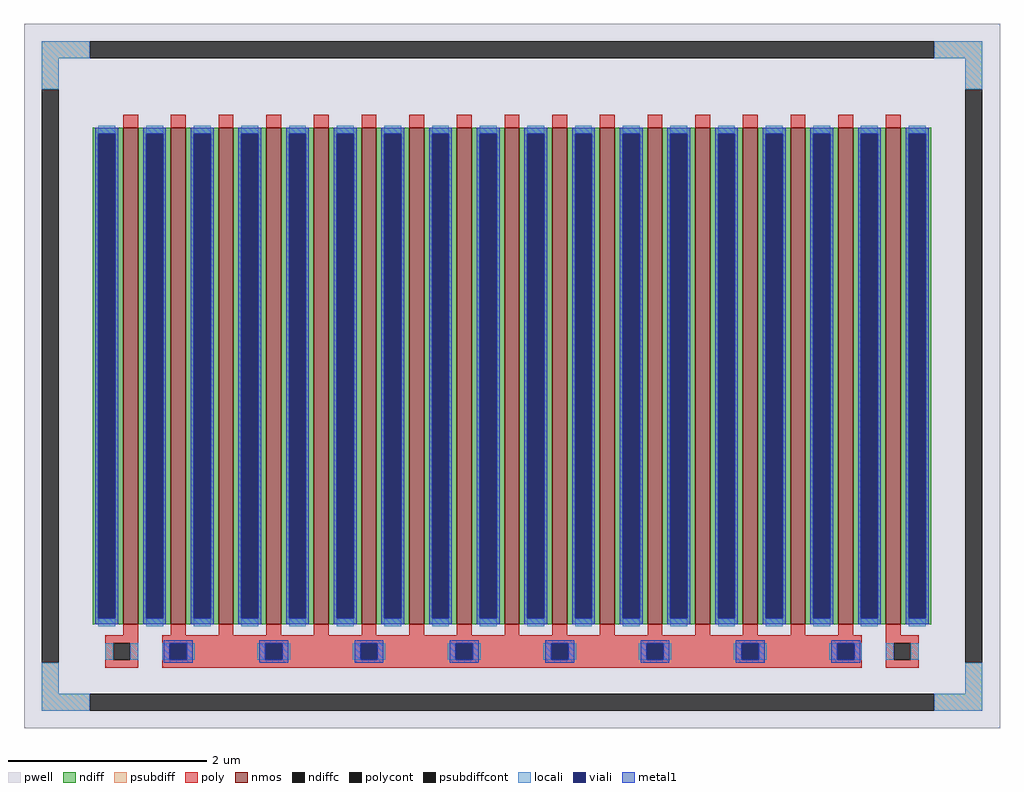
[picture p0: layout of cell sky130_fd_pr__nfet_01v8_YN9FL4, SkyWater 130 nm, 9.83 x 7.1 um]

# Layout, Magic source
magic
tech sky130A
magscale 1 2
<< pwell >>
rect -983 -710 983 710
<< nmos >>
rect -783 -500 -753 500
rect -687 -500 -657 500
rect -591 -500 -561 500
rect -495 -500 -465 500
rect -399 -500 -369 500
rect -303 -500 -273 500
rect -207 -500 -177 500
rect -111 -500 -81 500
rect -15 -500 15 500
rect 81 -500 111 500
rect 177 -500 207 500
rect 273 -500 303 500
rect 369 -500 399 500
rect 465 -500 495 500
rect 561 -500 591 500
rect 657 -500 687 500
rect 753 -500 783 500
<< ndiff >>
rect -845 488 -783 500
rect -845 -488 -833 488
rect -799 -488 -783 488
rect -845 -500 -783 -488
rect -753 488 -687 500
rect -753 -488 -737 488
rect -703 -488 -687 488
rect -753 -500 -687 -488
rect -657 488 -591 500
rect -657 -488 -641 488
rect -607 -488 -591 488
rect -657 -500 -591 -488
rect -561 488 -495 500
rect -561 -488 -545 488
rect -511 -488 -495 488
rect -561 -500 -495 -488
rect -465 488 -399 500
rect -465 -488 -449 488
rect -415 -488 -399 488
rect -465 -500 -399 -488
rect -369 488 -303 500
rect -369 -488 -353 488
rect -319 -488 -303 488
rect -369 -500 -303 -488
rect -273 488 -207 500
rect -273 -488 -257 488
rect -223 -488 -207 488
rect -273 -500 -207 -488
rect -177 488 -111 500
rect -177 -488 -161 488
rect -127 -488 -111 488
rect -177 -500 -111 -488
rect -81 488 -15 500
rect -81 -488 -65 488
rect -31 -488 -15 488
rect -81 -500 -15 -488
rect 15 488 81 500
rect 15 -488 31 488
rect 65 -488 81 488
rect 15 -500 81 -488
rect 111 488 177 500
rect 111 -488 127 488
rect 161 -488 177 488
rect 111 -500 177 -488
rect 207 488 273 500
rect 207 -488 223 488
rect 257 -488 273 488
rect 207 -500 273 -488
rect 303 488 369 500
rect 303 -488 319 488
rect 353 -488 369 488
rect 303 -500 369 -488
rect 399 488 465 500
rect 399 -488 415 488
rect 449 -488 465 488
rect 399 -500 465 -488
rect 495 488 561 500
rect 495 -488 511 488
rect 545 -488 561 488
rect 495 -500 561 -488
rect 591 488 657 500
rect 591 -488 607 488
rect 641 -488 657 488
rect 591 -500 657 -488
rect 687 488 753 500
rect 687 -488 703 488
rect 737 -488 753 488
rect 687 -500 753 -488
rect 783 488 845 500
rect 783 -488 799 488
rect 833 -488 845 488
rect 783 -500 845 -488
<< ndiffc >>
rect -833 -488 -799 488
rect -737 -488 -703 488
rect -641 -488 -607 488
rect -545 -488 -511 488
rect -449 -488 -415 488
rect -353 -488 -319 488
rect -257 -488 -223 488
rect -161 -488 -127 488
rect -65 -488 -31 488
rect 31 -488 65 488
rect 127 -488 161 488
rect 223 -488 257 488
rect 319 -488 353 488
rect 415 -488 449 488
rect 511 -488 545 488
rect 607 -488 641 488
rect 703 -488 737 488
rect 799 -488 833 488
<< psubdiff >>
rect -947 640 -851 674
rect 851 640 947 674
rect -947 578 -913 640
rect 913 578 947 640
rect -947 -640 -913 -578
rect 913 -640 947 -578
rect -947 -674 -851 -640
rect 851 -674 947 -640
<< psubdiffcont >>
rect -851 640 851 674
rect -947 -578 -913 578
rect 913 -578 947 578
rect -851 -674 851 -640
<< poly >>
rect -783 500 -753 526
rect -687 500 -657 526
rect -591 500 -561 526
rect -495 500 -465 526
rect -399 500 -369 526
rect -303 500 -273 526
rect -207 500 -177 526
rect -111 500 -81 526
rect -15 500 15 526
rect 81 500 111 526
rect 177 500 207 526
rect 273 500 303 526
rect 369 500 399 526
rect 465 500 495 526
rect 561 500 591 526
rect 657 500 687 526
rect 753 500 783 526
rect -783 -522 -753 -500
rect -687 -522 -657 -500
rect -591 -522 -561 -500
rect -495 -522 -465 -500
rect -399 -522 -369 -500
rect -303 -522 -273 -500
rect -207 -522 -177 -500
rect -111 -522 -81 -500
rect -15 -522 15 -500
rect 81 -522 111 -500
rect 177 -522 207 -500
rect 273 -522 303 -500
rect 369 -522 399 -500
rect 465 -522 495 -500
rect 561 -522 591 -500
rect 657 -522 687 -500
rect 753 -522 783 -500
rect -819 -538 -753 -522
rect -819 -572 -803 -538
rect -769 -572 -753 -538
rect -819 -588 -753 -572
rect -705 -538 705 -522
rect -705 -572 -689 -538
rect -655 -572 -497 -538
rect -463 -572 -305 -538
rect -271 -572 -113 -538
rect -79 -572 79 -538
rect 113 -572 271 -538
rect 305 -572 463 -538
rect 497 -572 655 -538
rect 689 -572 705 -538
rect -705 -588 705 -572
rect 753 -538 819 -522
rect 753 -572 769 -538
rect 803 -572 819 -538
rect 753 -588 819 -572
<< polycont >>
rect -803 -572 -769 -538
rect -689 -572 -655 -538
rect -497 -572 -463 -538
rect -305 -572 -271 -538
rect -113 -572 -79 -538
rect 79 -572 113 -538
rect 271 -572 305 -538
rect 463 -572 497 -538
rect 655 -572 689 -538
rect 769 -572 803 -538
<< locali >>
rect -947 640 -851 674
rect 851 640 947 674
rect -947 578 -913 640
rect 913 578 947 640
rect -833 488 -799 504
rect -833 -504 -799 -488
rect -737 488 -703 504
rect -737 -504 -703 -488
rect -641 488 -607 504
rect -641 -504 -607 -488
rect -545 488 -511 504
rect -545 -504 -511 -488
rect -449 488 -415 504
rect -449 -504 -415 -488
rect -353 488 -319 504
rect -353 -504 -319 -488
rect -257 488 -223 504
rect -257 -504 -223 -488
rect -161 488 -127 504
rect -161 -504 -127 -488
rect -65 488 -31 504
rect -65 -504 -31 -488
rect 31 488 65 504
rect 31 -504 65 -488
rect 127 488 161 504
rect 127 -504 161 -488
rect 223 488 257 504
rect 223 -504 257 -488
rect 319 488 353 504
rect 319 -504 353 -488
rect 415 488 449 504
rect 415 -504 449 -488
rect 511 488 545 504
rect 511 -504 545 -488
rect 607 488 641 504
rect 607 -504 641 -488
rect 703 488 737 504
rect 703 -504 737 -488
rect 799 488 833 504
rect 799 -504 833 -488
rect -819 -572 -803 -538
rect -769 -572 -753 -538
rect -705 -572 -689 -538
rect -655 -572 -639 -538
rect -513 -572 -497 -538
rect -463 -572 -447 -538
rect -321 -572 -305 -538
rect -271 -572 -255 -538
rect -129 -572 -113 -538
rect -79 -572 -63 -538
rect 63 -572 79 -538
rect 113 -572 129 -538
rect 255 -572 271 -538
rect 305 -572 321 -538
rect 447 -572 463 -538
rect 497 -572 513 -538
rect 639 -572 655 -538
rect 689 -572 705 -538
rect 753 -572 769 -538
rect 803 -572 819 -538
rect -947 -640 -913 -578
rect 913 -640 947 -578
rect -947 -674 -851 -640
rect 851 -674 947 -640
<< viali >>
rect -833 -488 -799 488
rect -737 -488 -703 488
rect -641 -488 -607 488
rect -545 -488 -511 488
rect -449 -488 -415 488
rect -353 -488 -319 488
rect -257 -488 -223 488
rect -161 -488 -127 488
rect -65 -488 -31 488
rect 31 -488 65 488
rect 127 -488 161 488
rect 223 -488 257 488
rect 319 -488 353 488
rect 415 -488 449 488
rect 511 -488 545 488
rect 607 -488 641 488
rect 703 -488 737 488
rect 799 -488 833 488
rect -689 -572 -655 -538
rect -497 -572 -463 -538
rect -305 -572 -271 -538
rect -113 -572 -79 -538
rect 79 -572 113 -538
rect 271 -572 305 -538
rect 463 -572 497 -538
rect 655 -572 689 -538
<< metal1 >>
rect -839 488 -793 500
rect -839 -488 -833 488
rect -799 -488 -793 488
rect -839 -500 -793 -488
rect -743 488 -697 500
rect -743 -488 -737 488
rect -703 -488 -697 488
rect -743 -500 -697 -488
rect -647 488 -601 500
rect -647 -488 -641 488
rect -607 -488 -601 488
rect -647 -500 -601 -488
rect -551 488 -505 500
rect -551 -488 -545 488
rect -511 -488 -505 488
rect -551 -500 -505 -488
rect -455 488 -409 500
rect -455 -488 -449 488
rect -415 -488 -409 488
rect -455 -500 -409 -488
rect -359 488 -313 500
rect -359 -488 -353 488
rect -319 -488 -313 488
rect -359 -500 -313 -488
rect -263 488 -217 500
rect -263 -488 -257 488
rect -223 -488 -217 488
rect -263 -500 -217 -488
rect -167 488 -121 500
rect -167 -488 -161 488
rect -127 -488 -121 488
rect -167 -500 -121 -488
rect -71 488 -25 500
rect -71 -488 -65 488
rect -31 -488 -25 488
rect -71 -500 -25 -488
rect 25 488 71 500
rect 25 -488 31 488
rect 65 -488 71 488
rect 25 -500 71 -488
rect 121 488 167 500
rect 121 -488 127 488
rect 161 -488 167 488
rect 121 -500 167 -488
rect 217 488 263 500
rect 217 -488 223 488
rect 257 -488 263 488
rect 217 -500 263 -488
rect 313 488 359 500
rect 313 -488 319 488
rect 353 -488 359 488
rect 313 -500 359 -488
rect 409 488 455 500
rect 409 -488 415 488
rect 449 -488 455 488
rect 409 -500 455 -488
rect 505 488 551 500
rect 505 -488 511 488
rect 545 -488 551 488
rect 505 -500 551 -488
rect 601 488 647 500
rect 601 -488 607 488
rect 641 -488 647 488
rect 601 -500 647 -488
rect 697 488 743 500
rect 697 -488 703 488
rect 737 -488 743 488
rect 697 -500 743 -488
rect 793 488 839 500
rect 793 -488 799 488
rect 833 -488 839 488
rect 793 -500 839 -488
rect -701 -538 -643 -532
rect -701 -572 -689 -538
rect -655 -572 -643 -538
rect -701 -578 -643 -572
rect -509 -538 -451 -532
rect -509 -572 -497 -538
rect -463 -572 -451 -538
rect -509 -578 -451 -572
rect -317 -538 -259 -532
rect -317 -572 -305 -538
rect -271 -572 -259 -538
rect -317 -578 -259 -572
rect -125 -538 -67 -532
rect -125 -572 -113 -538
rect -79 -572 -67 -538
rect -125 -578 -67 -572
rect 67 -538 125 -532
rect 67 -572 79 -538
rect 113 -572 125 -538
rect 67 -578 125 -572
rect 259 -538 317 -532
rect 259 -572 271 -538
rect 305 -572 317 -538
rect 259 -578 317 -572
rect 451 -538 509 -532
rect 451 -572 463 -538
rect 497 -572 509 -538
rect 451 -578 509 -572
rect 643 -538 701 -532
rect 643 -572 655 -538
rect 689 -572 701 -538
rect 643 -578 701 -572
<< properties >>
string FIXED_BBOX -930 -657 930 657
string gencell sky130_fd_pr__nfet_01v8
string library sky130
string parameters w 5 l 0.150 m 1 nf 17 diffcov 100 polycov 100 guard 1 glc 1 grc 1 gtc 1 gbc 1 tbcov 100 rlcov 100 topc 1 botc 1 poverlap 0 doverlap 1 lmin 0.15 wmin 0.42 compatible {sky130_fd_pr__nfet_01v8 sky130_fd_pr__nfet_01v8_lvt  sky130_fd_bs_flash__special_sonosfet_star  sky130_fd_pr__nfet_g5v0d10v5 sky130_fd_pr__nfet_05v0_nvt  sky130_fd_pr__nfet_03v3_nvt} full_metal 1 viasrc 100 viadrn 100 viagate 100 viagb 0 viagr 0 viagl 0 viagt 0
<< end >>
